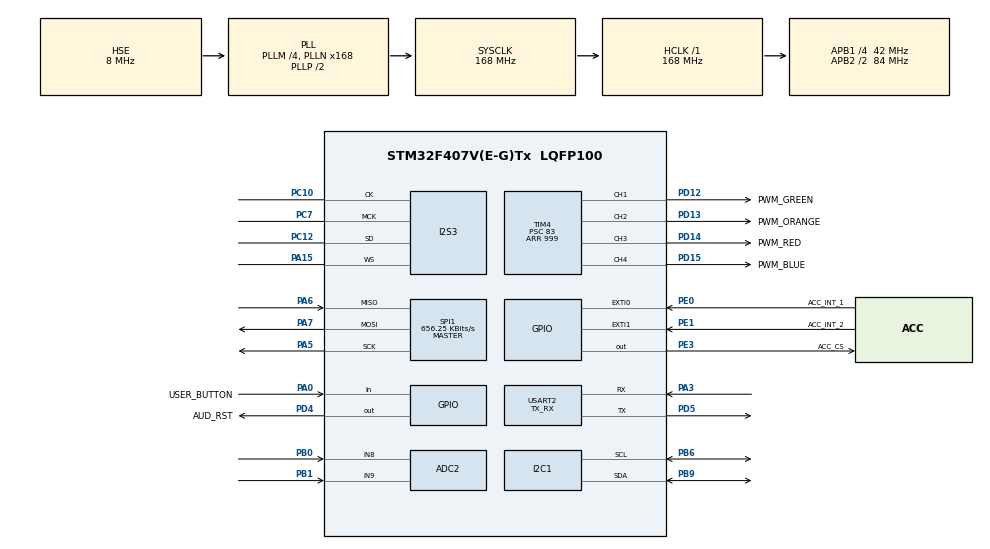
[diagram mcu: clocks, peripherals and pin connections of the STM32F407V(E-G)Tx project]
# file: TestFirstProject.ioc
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ADC2.Channel-0\#ChannelRegularConversion=ADC_CHANNEL_8
ADC2.Channel-1\#ChannelRegularConversion=ADC_CHANNEL_9
ADC2.DMAContinuousRequests=ENABLE
ADC2.NbrOfConversion=2
ADC2.NbrOfConversionFlag=1
ADC2.Rank-0\#ChannelRegularConversion=1
ADC2.Rank-1\#ChannelRegularConversion=2
ADC2.SamplingTime-0\#ChannelRegularConversion=ADC_SAMPLETIME_112CYCLES
ADC2.SamplingTime-1\#ChannelRegularConversion=ADC_SAMPLETIME_112CYCLES
ADC2.ScanConvMode=ENABLE
Dma.ADC2.0.Direction=DMA_PERIPH_TO_MEMORY
Dma.ADC2.0.FIFOMode=DMA_FIFOMODE_DISABLE
Dma.ADC2.0.Instance=DMA2_Stream2
Dma.ADC2.0.MemDataAlignment=DMA_MDATAALIGN_HALFWORD
Dma.ADC2.0.MemInc=DMA_MINC_ENABLE
Dma.ADC2.0.Mode=DMA_NORMAL
Dma.ADC2.0.PeriphDataAlignment=DMA_PDATAALIGN_HALFWORD
Dma.ADC2.0.PeriphInc=DMA_PINC_DISABLE
Dma.ADC2.0.Priority=DMA_PRIORITY_LOW
Dma.Request0=ADC2
I2S3.ErrorAudioFreq=-0.27 %
I2S3.FullDuplexMode=I2S_FULLDUPLEXMODE_DISABLE
I2S3.Instance=SPI$Index
I2S3.RealAudioFreq=7.978 KHz
I2S3.VirtualMode=I2S_MODE_MASTER
Mcu.Family=STM32F4
Mcu.Name=STM32F407V(E-G)Tx
Mcu.Package=LQFP100
NVIC.DMA2_Stream2_IRQn=true\:0\:0\:false\:false\:true\:false\:true
NVIC.PriorityGroup=NVIC_PRIORITYGROUP_4
NVIC.TIM8_TRG_COM_TIM14_IRQn=true\:0\:0\:false\:false\:true\:true\:true
NVIC.USART2_IRQn=true\:0\:0\:false\:false\:true\:true\:true
PA0-WKUP.GPIO_Label=USER_BUTTON
PA0-WKUP.Signal=GPIO_Input
PA13.Mode=Serial_Wire
PA13.Signal=SYS_JTMS-SWDIO
PA14.Mode=Serial_Wire
PA14.Signal=SYS_JTCK-SWCLK
PA15.Mode=Half_Duplex_Master
PA15.Signal=I2S3_WS
PA3.Mode=Asynchronous
PA3.Signal=USART2_RX
PA5.Mode=Full_Duplex_Master
PA5.Signal=SPI1_SCK
PA6.Mode=Full_Duplex_Master
PA6.Signal=SPI1_MISO
PA7.Mode=Full_Duplex_Master
PA7.Signal=SPI1_MOSI
PB0.Signal=ADCx_IN8
PB1.Signal=ADCx_IN9
PB10.Signal=I2S2_CK
PB6.Mode=I2C
PB6.Signal=I2C1_SCL
PB9.Mode=I2C
PB9.Signal=I2C1_SDA
PC10.Mode=Half_Duplex_Master
PC10.Signal=I2S3_CK
PC12.Mode=Half_Duplex_Master
PC12.Signal=I2S3_SD
PC3.Signal=I2S2_SD
PC7.Mode=Master_Clock_Activated
PC7.Signal=I2S3_MCK
PD12.GPIO_Label=PWM_GREEN
PD12.Signal=S_TIM4_CH1
PD13.GPIO_Label=PWM_ORANGE
PD13.Signal=S_TIM4_CH2
PD14.GPIO_Label=PWM_RED
PD14.Signal=S_TIM4_CH3
PD15.GPIO_Label=PWM_BLUE
PD15.Signal=S_TIM4_CH4
PD4.GPIO_Label=AUD_RST
PD4.PinState=GPIO_PIN_SET
PD4.Signal=GPIO_Output
PD5.Mode=Asynchronous
PD5.Signal=USART2_TX
PE0.GPIO_Label=ACC_INT_1
PE0.Signal=GPXTI0
PE1.GPIO_Label=ACC_INT_2
PE1.Signal=GPXTI1
PE3.GPIO_Label=ACC_CS
PE3.Signal=GPIO_Output
PH0-OSC_IN.Mode=HSE-External-Oscillator
PH0-OSC_IN.Signal=RCC_OSC_IN
PH1-OSC_OUT.Mode=HSE-External-Oscillator
PH1-OSC_OUT.Signal=RCC_OSC_OUT
ProjectManager.HeapSize=0x00
ProjectManager.StackSize=0x400
ProjectManager.TargetToolchain=STM32CubeIDE
RCC.48MHZClocksFreq_Value=84000000
RCC.AHBFreq_Value=168000000
RCC.APB1CLKDivider=RCC_HCLK_DIV4
RCC.APB1Freq_Value=42000000
RCC.APB1TimFreq_Value=84000000
RCC.APB2CLKDivider=RCC_HCLK_DIV2
RCC.APB2Freq_Value=84000000
RCC.APB2TimFreq_Value=168000000
RCC.CortexFreq_Value=168000000
RCC.HCLKFreq_Value=168000000
RCC.HSE_VALUE=8000000
RCC.HSI_VALUE=16000000
RCC.LSE_VALUE=32768
RCC.PLLM=4
RCC.PLLN=168
RCC.PLLSourceVirtual=RCC_PLLSOURCE_HSE
RCC.SYSCLKFreq_VALUE=168000000
RCC.SYSCLKSource=RCC_SYSCLKSOURCE_PLLCLK
RCC.VCOOutputFreq_Value=336000000
SH.ADCx_IN8.0=ADC2_IN8,IN8
SH.ADCx_IN9.0=ADC2_IN9,IN9
SH.S_TIM4_CH1.0=TIM4_CH1,PWM Generation1 CH1
SH.S_TIM4_CH2.0=TIM4_CH2,PWM Generation2 CH2
SH.S_TIM4_CH3.0=TIM4_CH3,PWM Generation3 CH3
SH.S_TIM4_CH4.0=TIM4_CH4,PWM Generation4 CH4
SPI1.BaudRatePrescaler=SPI_BAUDRATEPRESCALER_128
SPI1.CalculateBaudRate=656.25 KBits/s
SPI1.Direction=SPI_DIRECTION_2LINES
SPI1.Mode=SPI_MODE_MASTER
SPI1.VirtualType=VM_MASTER
TIM14.AutoReloadPreload=TIM_AUTORELOAD_PRELOAD_ENABLE
TIM14.Period=999
TIM14.Prescaler=83
TIM4.AutoReloadPreload=TIM_AUTORELOAD_PRELOAD_ENABLE
TIM4.Channel-PWM\ Generation1\ CH1=TIM_CHANNEL_1
TIM4.Channel-PWM\ Generation2\ CH2=TIM_CHANNEL_2
TIM4.Channel-PWM\ Generation3\ CH3=TIM_CHANNEL_3
TIM4.Channel-PWM\ Generation4\ CH4=TIM_CHANNEL_4
TIM4.Period=999
TIM4.Prescaler=83
TIM4.Pulse-PWM\ Generation2\ CH2=499
TIM4.Pulse-PWM\ Generation3\ CH3=749
TIM4.Pulse-PWM\ Generation4\ CH4=999
USART2.Mode=MODE_TX_RX
USART2.OverSampling=UART_OVERSAMPLING_8
USART2.VirtualMode=VM_ASYNC
VP_TIM14_VS_ClockSourceINT.Mode=Enable_Timer
board=custom

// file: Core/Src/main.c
/* USER CODE BEGIN Header */
/**
  ******************************************************************************
  * @file           : main.c
  * @brief          : Main program body
  ******************************************************************************
  * @attention
  *
  * <h2><center>&copy; Copyright (c) 2020 STMicroelectronics.
  * All rights reserved.</center></h2>
  *
  * This software component is licensed by ST under BSD 3-Clause license,
  * the "License"; You may not use this file except in compliance with the
  * License. You may obtain a copy of the License at:
  *                        opensource.org/licenses/BSD-3-Clause
  *
  ******************************************************************************
  */
/* USER CODE END Header */

#include "main.h"
#include "adc.h"
#include "dma.h"
#include "i2c.h"
#include "i2s.h"
#include "spi.h"
#include "tim.h"
#include "usart.h"
#include "gpio.h"

/* USER CODE BEGIN Includes */
#include "LIS3DSH.h"
/* USER CODE END Includes */

void SystemClock_Config(void);

/* USER CODE BEGIN 0 */

int16_t axis[ 3 ];
double axisg[ 3 ];
/* USER CODE END 0 */

int main(void)
{

  /* MCU Configuration--------------------------------------------------------*/

  /* Reset of all peripherals, Initializes the Flash interface and the Systick. */
  HAL_Init();

  /* Configure the system clock */
  SystemClock_Config();

  /* Initialize all configured peripherals */
  MX_GPIO_Init();
  MX_DMA_Init();
  MX_I2C1_Init();
  MX_I2S3_Init();
  MX_SPI1_Init();
  MX_TIM14_Init();
  MX_USART2_UART_Init();
  MX_ADC2_Init();
  MX_TIM4_Init();
  /* USER CODE BEGIN 2 */

    HAL_GPIO_WritePin(ACC_CS_GPIO_Port, ACC_CS_Pin, GPIO_PIN_SET);

    HAL_Delay(5);

    LIS3DSH_HAL_WriteReg8(LIS3DSH_REG_CTRL4,LIS3DSH_ALL_AXIS_EN|LIS3DSH_ODR_3_125);

    LIS3DSH_HAL_WriteReg8(LIS3DSH_REG_CTRL5,LIS3DSH_AAFLTR50Hz|LIS3DSH_2G|LIS3DSH_STNORMAL|LIS3DSH_SPI4WIRE);

    LIS3DSH_HAL_WriteReg8(LIS3DSH_REG_OFFX,0);
    LIS3DSH_HAL_WriteReg8(LIS3DSH_REG_OFFY,0);
    LIS3DSH_HAL_WriteReg8(LIS3DSH_REG_OFFZ,0);

  /* USER CODE END 2 */

  /* Infinite loop */
  /* USER CODE BEGIN WHILE */
  while (1)
  {
      axis[ 0 ] = LIS3DSH_HAL_ReadReg16(LIS3DSH_REG_OUTXL);
      axis[ 1 ] = LIS3DSH_HAL_ReadReg16(LIS3DSH_REG_OUTYL);
      axis[ 2 ] = LIS3DSH_HAL_ReadReg16(LIS3DSH_REG_OUTZL);

      axisg[ 0 ] = axis[ 0 ];
      axisg[ 1 ] = axis[ 1 ];
      axisg[ 2 ] = axis[ 2 ];

      axisg[ 0 ] = ( axisg[ 0 ] / 16384 );
      axisg[ 1 ] = ( axisg[ 1 ] / 16384 );
      axisg[ 2 ] = ( axisg[ 2 ] / 16384 );

      HAL_Delay(10);

    /* USER CODE END WHILE */

  }
}

void SystemClock_Config(void)
{
  RCC_OscInitTypeDef RCC_OscInitStruct = {0};
  RCC_ClkInitTypeDef RCC_ClkInitStruct = {0};
  RCC_PeriphCLKInitTypeDef PeriphClkInitStruct = {0};

  /** Configure the main internal regulator output voltage
  */
  __HAL_RCC_PWR_CLK_ENABLE();
  __HAL_PWR_VOLTAGESCALING_CONFIG(PWR_REGULATOR_VOLTAGE_SCALE1);
  /** Initializes the CPU, AHB and APB busses clocks
  */
  RCC_OscInitStruct.OscillatorType = RCC_OSCILLATORTYPE_HSE;
  RCC_OscInitStruct.HSEState = RCC_HSE_ON;
  RCC_OscInitStruct.PLL.PLLState = RCC_PLL_ON;
  RCC_OscInitStruct.PLL.PLLSource = RCC_PLLSOURCE_HSE;
  RCC_OscInitStruct.PLL.PLLM = 4;
  RCC_OscInitStruct.PLL.PLLN = 168;
  RCC_OscInitStruct.PLL.PLLP = RCC_PLLP_DIV2;
  RCC_OscInitStruct.PLL.PLLQ = 4;
  if (HAL_RCC_OscConfig(&RCC_OscInitStruct) != HAL_OK)
  {
    Error_Handler();
  }
  /** Initializes the CPU, AHB and APB busses clocks
  */
  RCC_ClkInitStruct.ClockType = RCC_CLOCKTYPE_HCLK|RCC_CLOCKTYPE_SYSCLK
                              |RCC_CLOCKTYPE_PCLK1|RCC_CLOCKTYPE_PCLK2;
  RCC_ClkInitStruct.SYSCLKSource = RCC_SYSCLKSOURCE_PLLCLK;
  RCC_ClkInitStruct.AHBCLKDivider = RCC_SYSCLK_DIV1;
  RCC_ClkInitStruct.APB1CLKDivider = RCC_HCLK_DIV4;
  RCC_ClkInitStruct.APB2CLKDivider = RCC_HCLK_DIV2;

  if (HAL_RCC_ClockConfig(&RCC_ClkInitStruct, FLASH_LATENCY_5) != HAL_OK)
  {
    Error_Handler();
  }
  PeriphClkInitStruct.PeriphClockSelection = RCC_PERIPHCLK_I2S;
  PeriphClkInitStruct.PLLI2S.PLLI2SN = 192;
  PeriphClkInitStruct.PLLI2S.PLLI2SR = 2;
  if (HAL_RCCEx_PeriphCLKConfig(&PeriphClkInitStruct) != HAL_OK)
  {
    Error_Handler();
  }
}

void Error_Handler(void)
{
}

/************************ (C) COPYRIGHT STMicroelectronics *****END OF FILE****/
